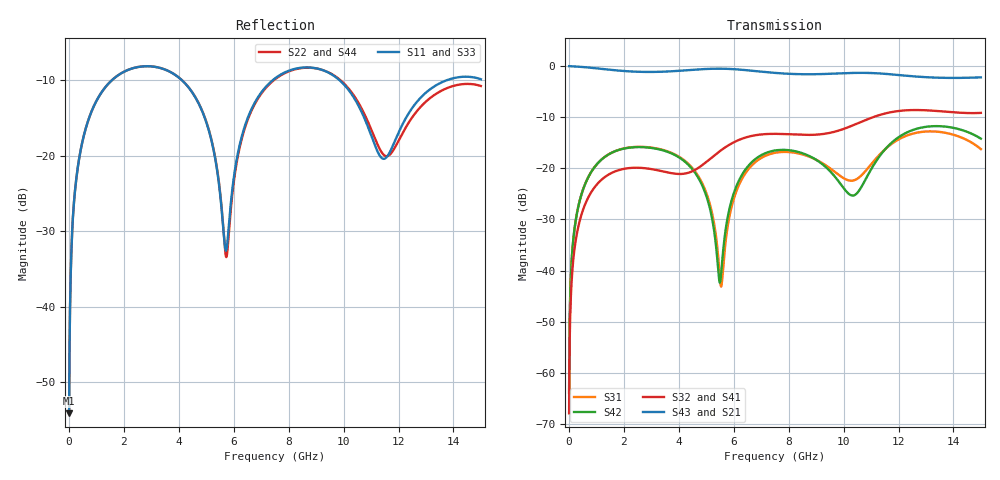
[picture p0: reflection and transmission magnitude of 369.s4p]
! Created with skrf 1.8.0 (http://scikit-rf.org).
# GHz S RI R 50.0
!freq ReS11 ImS11 ReS12 ImS12 ReS13 ImS13
! ReS14 ImS14
! ReS21 ImS21 ReS22 ImS22 ReS23 ImS23
! ReS24 ImS24
! ReS31 ImS31 ReS32 ImS32 ReS33 ImS33
! ReS34 ImS34
! ReS41 ImS41 ReS42 ImS42 ReS43 ImS43
! ReS44 ImS44
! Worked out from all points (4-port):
!   2499 points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, 5 MHz to 15 GHz, reference 50 ohm
!   strongest paths, dB at 5 MHz, 3.476 GHz, 7.19 GHz, 11.1 GHz, 15 GHz:
!     S43: 0.0, -1.1, -1.2, -1.4, -2.2
!     S21: 0.0, -1.1, -1.2, -1.4, -2.2
!     S32: -67.9, -20.7, -13.3, -9.9, -9.2
!     S41: -67.9, -20.8, -13.3, -9.9, -9.3
!     S42: -63.9, -16.6, -17.0, -19.3, -14.2
!     S31: -63.9, -16.5, -17.5, -18.6, -16.2
!   lowest |S11| = -54.1 dB at 5 MHz (marker M1), VSWR 1.00, Z = 50.2 + j0.119 ohm
!   |S11| at or under -10 dB: start of sweep to 1.566 GHz; 4.108 GHz to 7.421 GHz (3.313 GHz wide, 57.5 % of centre); 9.85 GHz to 13.76 GHz (3.914 GHz wide, 33.2 % of centre)
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0.005  0.00157 0.00119  0.9984 -0.00305  7.89e-05 0.000632  -7.65e-05 -0.000394
       0.9984 -0.00305  0.00157 0.00119  -7.65e-05 -0.000394  7.88e-05 0.000632
       7.89e-05 0.000632  -7.65e-05 -0.000394  0.00157 0.00119  0.9984 -0.00305
       -7.65e-05 -0.000394  7.88e-05 0.000632  0.9984 -0.00305  0.00157 0.00119
0.3126303  0.0223 0.0785  0.9696 -0.1901  0.0103 0.0377  -0.00855 -0.0233
           0.9696 -0.1901  0.0223 0.0785  -0.00857 -0.0233  0.0103 0.0377
           0.0103 0.0377  -0.00857 -0.0233  0.0223 0.0785  0.9696 -0.1901
           -0.00855 -0.0233  0.0103 0.0377  0.9696 -0.1901  0.0223 0.0785
1.569404  0.2593 0.1818  0.5717 -0.7161  0.1273 0.0652  -0.0899 -0.00991
          0.5717 -0.7161  0.2595 0.1818  -0.0901 -0.00965  0.126 0.0668
          0.1273 0.0652  -0.0901 -0.00965  0.2591 0.1819  0.5717 -0.7161
          -0.0899 -0.00991  0.126 0.0668  0.5717 -0.7161  0.2596 0.1817
5.589829  0.0253 -0.0285  -0.932 -0.1424  -0.00601 0.00652  -0.0214 0.1523
          -0.932 -0.1424  0.0234 -0.0313  -0.0164 0.1529  0.00927 0.0095
          -0.00601 0.00652  -0.0164 0.1529  0.0269 -0.0284  -0.9319 -0.1426
          -0.0214 0.1523  0.00927 0.0095  -0.9319 -0.1426  0.0219 -0.0316
8.909962  0.3798 -0.0336  0.0207 0.8323  0.085 -0.0912  0.2065 -0.0431
          0.0207 0.8323  0.3793 -0.0267  0.2059 -0.0539  0.0879 -0.0894
          0.085 -0.0912  0.2059 -0.0539  0.3785 -0.0325  0.0206 0.8324
          0.2065 -0.0431  0.0879 -0.0894  0.0206 0.8324  0.3801 -0.0276
11.62359  0.0999 0.0141  0.8333 0.0587  -0.0181 0.1623  0.0249 -0.3488
          0.8333 0.0587  0.0995 -0.00556  0.00612 -0.3496  0.022 0.1639
          -0.0181 0.1623  0.00612 -0.3496  0.1009 0.0102  0.8333 0.059
          0.0249 -0.3488  0.022 0.1639  0.8333 0.059  0.0993 -0.00234
15  0.3071 -0.0925  -0.0566 -0.7731  0.1196 -0.0973  -0.3359 0.0695
    -0.0566 -0.7731  0.2835 -0.0573  -0.3338 0.1002  0.1255 -0.1495
    0.1196 -0.0973  -0.3338 0.1002  0.3019 -0.0822  -0.0566 -0.7737
    -0.3359 0.0695  0.1255 -0.1495  -0.0566 -0.7737  0.2856 -0.0692
